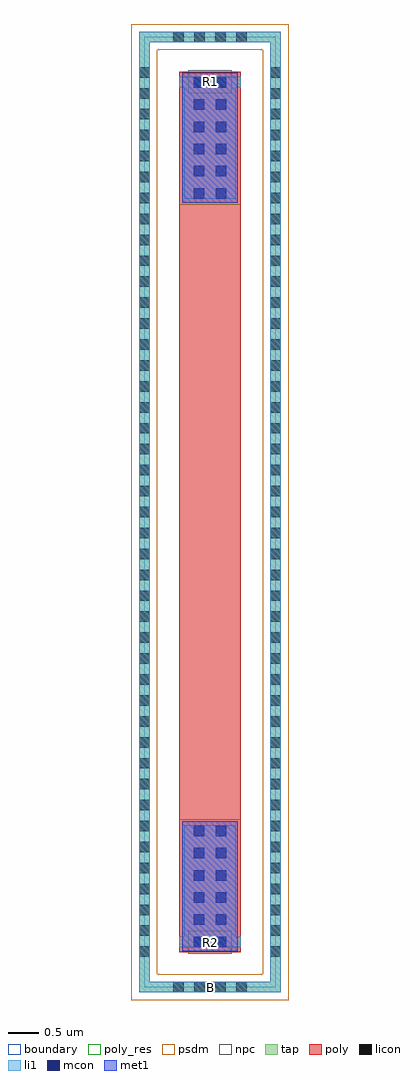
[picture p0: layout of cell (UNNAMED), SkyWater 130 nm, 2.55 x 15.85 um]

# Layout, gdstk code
import gdstk
lib = gdstk.Library(unit=1e-6, precision=1e-09)
def R(c, l, rs):  # rectangles x0, y0, x1, y1
    for r in rs: c.add(gdstk.rectangle(r[:2], r[2:], *l))
def A(c, l, x, y, w, h, nx, ny, dx, dy):  # array of equal rectangles
    R(c, l, [(x+i*dx, y+j*dy, x+i*dx+w, y+j*dy+h) for i in range(nx) for j in range(ny)])
tap = (65, 44)
poly_res = (66, 13)
poly = (66, 20)
licon = (66, 44)
li1 = (67, 20)
mcon = (67, 44)
met1 = (68, 20)
psdm = (94, 20)
npc = (95, 20)
boundary = (235, 4)

c__unnamed_ = lib.new_cell('(UNNAMED)')
R(c__unnamed_, tap, [(-1.15,-7.8,1.15,-7.63), (-1.15,-7.63,-0.98,7.63), (0.98,-7.63,1.15,7.63), (-1.15,7.63,1.15,7.8)])
R(c__unnamed_, poly_res, [(-0.5,-5,0.5,5)])
R(c__unnamed_, poly, [(-0.5,-7.15,0.5,7.15)])
A(c__unnamed_, licon, -0.595, -7.8, 0.17, 0.17, 4, 2, 0.34, 15.43)
A(c__unnamed_, licon, -1.15, -7.225, 0.17, 0.17, 1, 43, 0, 0.34)
A(c__unnamed_, licon, 0.98, -7.225, 0.17, 0.17, 1, 43, 0, 0.34)
R(c__unnamed_, licon, [(-0.255,-7.07,-0.085,-6.9), (0.085,-7.07,0.255,-6.9), (-0.255,6.9,-0.085,7.07), (0.085,6.9,0.255,7.07)])
R(c__unnamed_, li1, [(-1.15,-7.8,1.15,-7.63), (-1.15,-7.63,-0.98,7.63), (0.98,-7.63,1.15,7.63), (-0.5,-7.07,0.5,-6.9), (-0.42,-6.9,0.42,-5.085), (-0.42,5.085,0.42,6.9), (-0.5,6.9,0.5,7.07), (-1.15,7.63,1.15,7.8)])
A(c__unnamed_, mcon, -0.265, -7.065, 0.17, 0.17, 1, 6, 0, 0.36)
A(c__unnamed_, mcon, 0.095, -7.065, 0.17, 0.17, 1, 6, 0, 0.36)
A(c__unnamed_, mcon, -0.265, 5.09, 0.17, 0.17, 1, 6, 0, 0.36)
A(c__unnamed_, mcon, 0.095, 5.09, 0.17, 0.17, 1, 6, 0, 0.36)
R(c__unnamed_, met1, [(-0.45,-7.13,0.45,-5.025), (-0.45,5.025,0.45,7.13)])
R(c__unnamed_, psdm, [(-1.275,-7.925,1.275,-7.505), (-1.275,-7.505,-0.855,7.505), (0.855,-7.505,1.275,7.505), (-1.275,7.505,1.275,7.925)])
R(c__unnamed_, npc, [(-0.355,-7.17,0.355,-6.8), (-0.355,6.8,0.355,7.17)])
R(c__unnamed_, boundary, [(-1.065,-7.715,1.065,7.715)])
c__unnamed_.add(gdstk.Label('B', (0,-7.715), layer=67, texttype=5))
c__unnamed_.add(gdstk.Label('R1', (0,6.985), layer=67, texttype=5))
c__unnamed_.add(gdstk.Label('R2', (0,-6.985), layer=67, texttype=5))

lib.write_gds('_UNNAMED_.gds')
